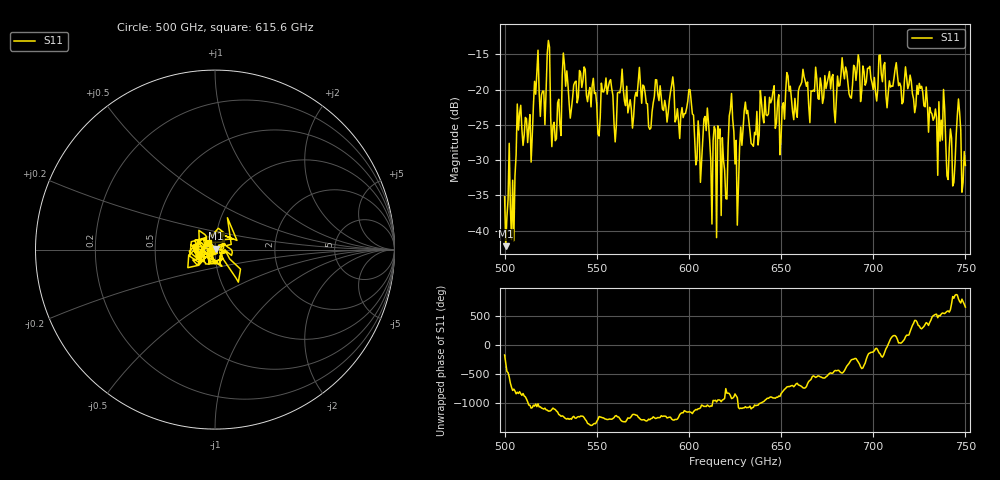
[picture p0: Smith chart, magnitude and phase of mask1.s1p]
!Created with skrf (http://scikit-rf.org).
# GHz S MA R 50.0
!freq magS11 angS11
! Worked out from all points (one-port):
!   401 points, 500 GHz to 750 GHz, reference 50 ohm
!   lowest |S11| = -42.2 dB at 500.6 GHz (marker M1), VSWR 1.02, Z = 50.5 + j0.566 ohm
!   |S11| at or under -10 dB: start of sweep to end of sweep
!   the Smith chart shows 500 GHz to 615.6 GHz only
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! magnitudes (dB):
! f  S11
! 500 GHz  -35.2
! 500.6 GHz  -42.2
! 504.4 GHz  -32.9
! 508.1 GHz  -23.3
! 513.8 GHz  -23.6
! 517.5 GHz  -17.5
! 520.6 GHz  -20.2
! 523.8 GHz  -13.0
! 526.9 GHz  -24.6
! 531.2 GHz  -18.0
! 562.5 GHz  -20.5
! 578.8 GHz  -25.6
! 590.6 GHz  -19.4
! 593.8 GHz  -22.7
! 600.6 GHz  -20.0
! 605 GHz  -24.4
! 609.4 GHz  -25.8
! 618.8 GHz  -30.0
! 623.1 GHz  -20.6
! 625 GHz  -30.5
! 631.2 GHz  -23.4
! 635 GHz  -28.0
! 656.2 GHz  -23.2
! 687.5 GHz  -21.1
! 718.8 GHz  -19.9
! 743.8 GHz  -33.2
! 746.2 GHz  -21.3
! 750 GHz  -30.8
